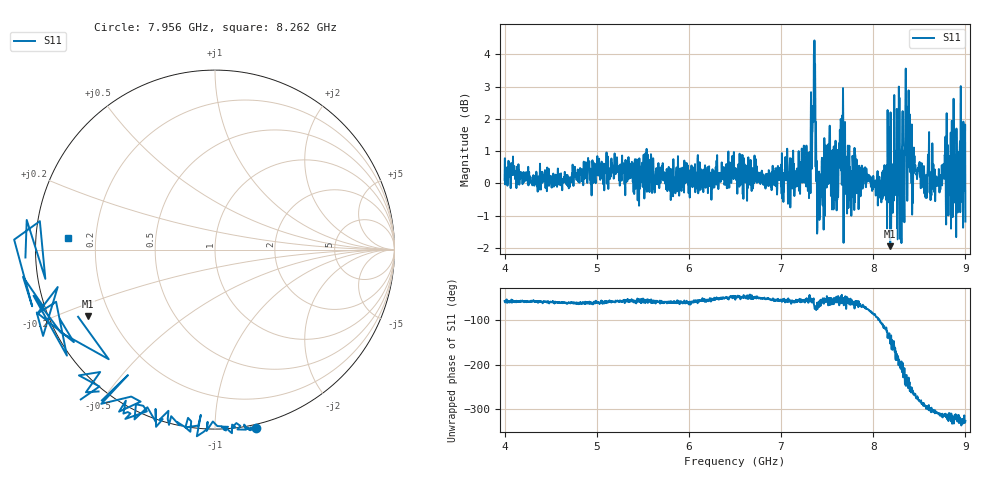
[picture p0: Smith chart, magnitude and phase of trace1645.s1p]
! Created with skrf 1.8.0 (http://scikit-rf.org).
# Hz S RI R 50.0
!freq ReS11 ImS11
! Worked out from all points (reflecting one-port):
!   1601 points, 4 GHz to 9 GHz, reference 50 ohm
!   lowest |S11| = -1.9 dB at 8.184 GHz (marker M1), VSWR 8.98, Z = 5.9 - j12.2 ohm
!   phase of S11 starts at -56 deg and turns -271 deg over the sweep
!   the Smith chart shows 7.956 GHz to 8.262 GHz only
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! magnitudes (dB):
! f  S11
! 4 GHz  0.1
! 4.625 GHz  -0.2
! 5.25 GHz  -0.1
! 5.875 GHz  0.0
! 6.5 GHz  0.3
! 7.125 GHz  0.4
! 7.294 GHz  0.1
! 7.328 GHz  0.5
! 7.347 GHz  2.4
! 7.362 GHz  4.4
! 7.397 GHz  0.1
! 7.412 GHz  0.4
! 7.512 GHz  1.2
! 7.594 GHz  -0.2
! 7.65 GHz  1.9
! 7.75 GHz  -0.1
! 8.184 GHz  -1.9
! 8.209 GHz  0.4
! 8.259 GHz  1.7
! 8.316 GHz  1.2
! 8.334 GHz  -0.3
! 8.347 GHz  1.4
! 8.375 GHz  1.1
! 8.425 GHz  -0.1
! 8.556 GHz  -0.3
! 8.619 GHz  0.3
! 8.972 GHz  0.2
! 9 GHz  -1.2
